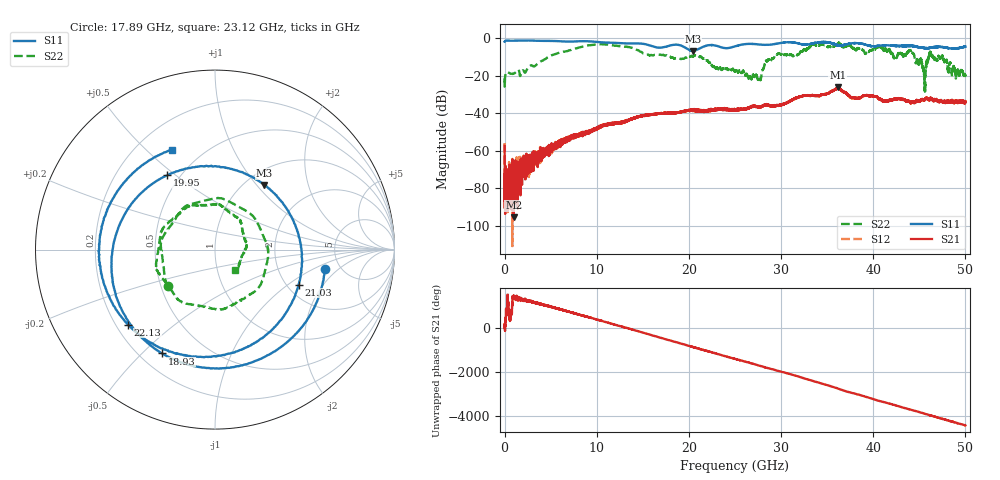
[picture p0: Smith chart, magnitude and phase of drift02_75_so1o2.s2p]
!Created with skrf (http://scikit-rf.org).
# Hz S RI R 50.0
!freq ReS11 ImS11 ReS21 ImS21 ReS12 ImS12 ReS22 ImS22
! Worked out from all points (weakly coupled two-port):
!   10001 points, 300 kHz to 50 GHz, reference 50 ohm
!   highest |S21| = -26.24 dB at 36.14 GHz (marker M1); lowest = -95.5 dB at 990.3 MHz (marker M2)
!   lowest |S11| = -6.9 dB at 20.45 GHz (marker M3), VSWR 2.65, Z = 60.8 + j54.9 ohm
!   |S11| at or under -10 dB: nowhere
!   |S22| runs from -28.5 to -2.5 dB; largest |S21 - S12| = 0.0057
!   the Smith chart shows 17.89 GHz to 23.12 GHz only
!   S11 on the Smith chart (normalised r, x): 17.89 GHz: 3.76, -1.35; 18.93 GHz: 0.29, -0.58; 19.95 GHz: 0.43, +0.47; 21.03 GHz: 2.30, -1.20; 22.13 GHz: 0.25, -0.35; 23.12 GHz: 0.34, +0.60
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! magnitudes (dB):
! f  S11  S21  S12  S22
! 300 kHz  -2.0  -57.5  -56.1  -21.4
! 255.3 MHz  -1.4  -86.3  -73.4  -18.2
! 990.3 MHz  -1.5  -95.5  -74.8  -19.0
! 8.335 GHz  -1.7  -50.8  -51.6  -4.7
! 16.67 GHz  -5.2  -40.2  -40.3  -9.0
! 17.89 GHz  -4.1  -40.0  -40.2  -9.6
! 18.93 GHz  -3.7  -39.5  -39.8  -10.8
! 19.95 GHz  -6.1  -38.6  -38.6  -9.8
! 20.45 GHz  -6.9  -38.3  -38.6  -9.8
! 21.03 GHz  -5.9  -38.0  -38.5  -9.5
! 22.13 GHz  -3.9  -38.5  -38.5  -12.7
! 23.12 GHz  -4.3  -38.3  -38.1  -16.2
! 25 GHz  -4.5  -38.0  -38.4  -17.8
! 27.63 GHz  -3.5  -36.7  -36.7  -21.5
! 29.54 GHz  -3.0  -36.1  -36.1  -8.8
! 33.34 GHz  -3.0  -30.5  -30.7  -3.8
! 36.14 GHz  -3.8  -26.2  -27.0  -3.2
! 41.67 GHz  -3.9  -33.2  -33.4  -6.3
! 44.13 GHz  -4.1  -34.5  -34.5  -7.0
! 45.5 GHz  -5.3  -33.0  -32.9  -18.5
! 46.28 GHz  -5.2  -32.7  -32.0  -8.8
! 50 GHz  -4.7  -33.7  -34.2  -19.8
